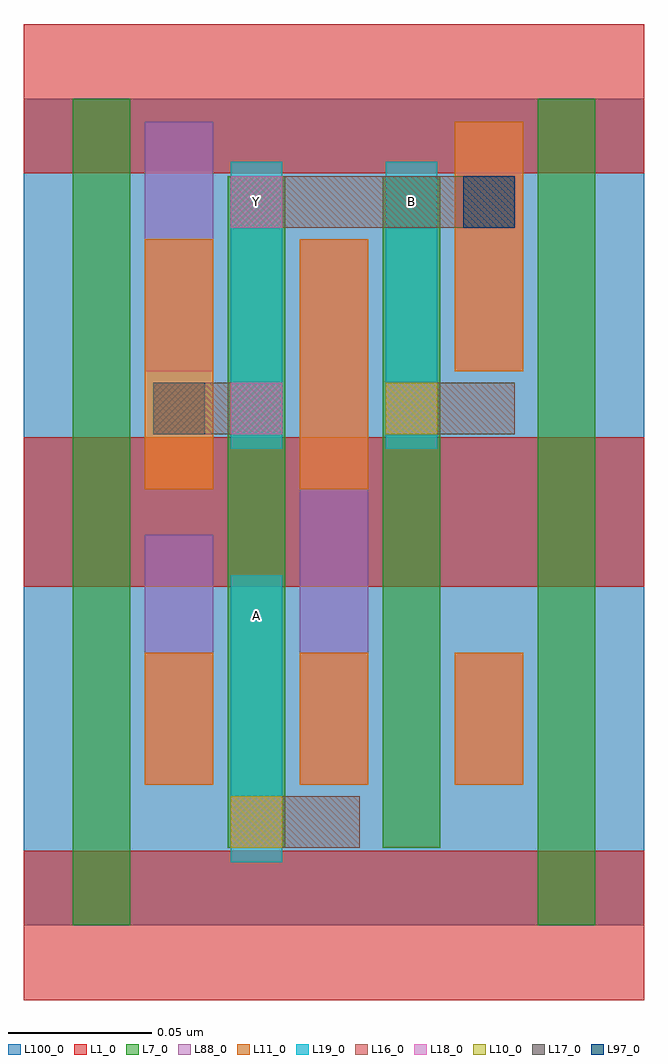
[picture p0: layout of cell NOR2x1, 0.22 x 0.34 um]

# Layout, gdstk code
import gdstk
lib = gdstk.Library(unit=1e-6, precision=2.5e-10)
def R(c, l, rs):  # rectangles x0, y0, x1, y1
    for r in rs: c.add(gdstk.rectangle(r[:2], r[2:], *l))
def A(c, l, x, y, w, h, nx, ny, dx, dy):  # array of equal rectangles
    R(c, l, [(x+i*dx, y+j*dy, x+i*dx+w, y+j*dy+h) for i in range(nx) for j in range(ny)])
L1_0 = (1, 0)
L7_0 = (7, 0)
L10_0 = (10, 0)
L11_0 = (11, 0)
L16_0 = (16, 0)
L17_0 = (17, 0)
L18_0 = (18, 0)
L19_0 = (19, 0)
L88_0 = (88, 0)
L97_0 = (97, 0)
L100_0 = (100, 0)

nor2x1 = lib.new_cell('NOR2x1')
A(nor2x1, L1_0, 0, -0.026, 0.216, 0.052, 1, 3, 0, 0.144)
R(nor2x1, L7_0, [(0.017,0,0.037,0.144), (0.179,0,0.199,0.144), (0.071,0.027,0.091,0.144), (0.125,0.027,0.145,0.144), (0.017,0.144,0.037,0.288), (0.071,0.144,0.091,0.261), (0.125,0.144,0.145,0.261), (0.179,0.144,0.199,0.288)])
R(nor2x1, L10_0, [(0.072,0.027,0.09,0.045), (0.126,0.171,0.144,0.189)])
A(nor2x1, L11_0, 0.042, 0.049, 0.024, 0.046, 3, 1, 0.054, 0)
R(nor2x1, L11_0, [(0.042,0.152,0.066,0.239), (0.096,0.152,0.12,0.239), (0.15,0.193,0.174,0.28)])
R(nor2x1, L16_0, [(0.072,0.027,0.117,0.045), (0.045,0.171,0.09,0.189), (0.126,0.171,0.171,0.189), (0.072,0.243,0.171,0.261)])
R(nor2x1, L17_0, [(0.045,0.171,0.063,0.189), (0.153,0.243,0.171,0.261)])
R(nor2x1, L18_0, [(0.072,0.027,0.09,0.045), (0.072,0.171,0.09,0.189), (0.126,0.171,0.144,0.189), (0.072,0.243,0.09,0.261)])
R(nor2x1, L19_0, [(0.072,0.022,0.09,0.122), (0.072,0.166,0.09,0.266), (0.126,0.166,0.144,0.266)])
R(nor2x1, L88_0, [(0.042,0.049,0.066,0.136), (0.096,0.049,0.12,0.144), (0.15,0.049,0.174,0.095), (0.096,0.144,0.12,0.239), (0.042,0.193,0.066,0.28), (0.15,0.193,0.174,0.28)])
R(nor2x1, L97_0, [(0.153,0.243,0.171,0.261)])
R(nor2x1, L100_0, [(0,0,0.216,0.288)])
nor2x1.add(gdstk.Label('A', (0.081,0.108), layer=19, texttype=251))
nor2x1.add(gdstk.Label('B', (0.135,0.252), layer=19, texttype=251))
nor2x1.add(gdstk.Label('Y', (0.081,0.252), layer=19, texttype=251))

lib.write_gds('NOR2x1.gds')
